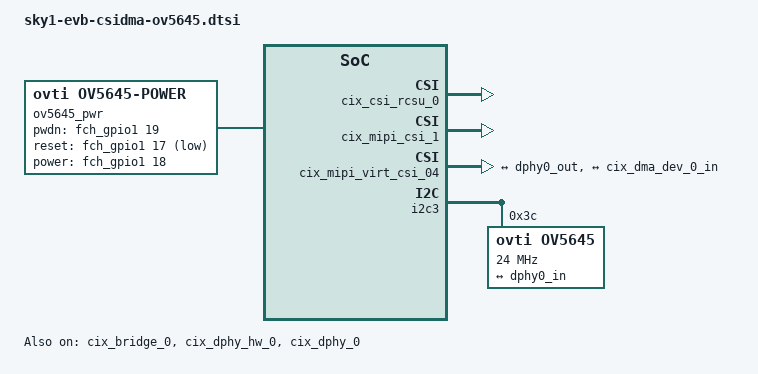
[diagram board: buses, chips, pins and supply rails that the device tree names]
// SPDX-License-Identifier: GPL-2.0
/*
 * Copyright 2024 Cix Technology Group Co., Ltd.
 */

#include "sky1-csidma-common.dtsi"

#define PLATFORM_ID  PLATFORM_A0_SOC

&cix_dma_dev_0 {
	sync = <0>;
	channel_id = <1>;
	dphy_mode = <2>; /*for split mode*/
	cix,rcsu = <&cix_csi_rcsu_0>;
	cix,hw = <&cix_bridge_0>;
	status = "okay";
	iommus = <&smmu_mmhub 0x21>;
	port {
		cix_dma_dev_0_in: endpoint {
			remote-endpoint = <&mipi_csi2_virt04_out>;
		};
	};
};

&cix_csi_rcsu_0 {
	platform-id = <PLATFORM_ID>;
	status = "okay";
};

&cix_bridge_0 {
	status = "okay";
};

&cix_mipi_csi_1 {
	lanes = <2>;
	status = "okay";
};

&cix_mipi_virt_csi_04 {
	cix,hw = <&cix_mipi_csi_1>;
	status = "okay";
	vc = <0>;
	ports {
		#address-cells = <1>;
		#size-cells = <0>;
		port@0 {
			reg = <0>;
			#address-cells = <1>;
			#size-cells = <0>;
			mipi_csi2_virt04_in: endpoint@1 {
				reg = <1>;
				remote-endpoint = <&dphy0_out>;
			};
		};
		port@1 {
			reg = <1>;
			#address-cells = <1>;
			#size-cells = <0>;
			mipi_csi2_virt04_out: endpoint@0 {
				reg = <0>;
				remote-endpoint = <&cix_dma_dev_0_in>;
			};
		};
	};
};

&cix_dphy_hw_0 {
	status = "okay";
};

&cix_dphy_0 {
	status = "okay";
	#address-cells = <1>;
	#size-cells = <0>;
	ports {
		#address-cells = <1>;
		#size-cells = <0>;
		port@0 {
			reg = <0>;
			#address-cells = <1>;
			#size-cells = <0>;
			dphy0_in: endpoint@1 {
				reg = <1>;
				remote-endpoint = <&ov5645_out>;
				data-lanes = <1 2>;
				clock-lanes = <0>;
			};
		};

		port@1 {
			reg = <1>;
			#address-cells = <1>;
			#size-cells = <0>;
			dphy0_out: endpoint@0 {
				reg = <0>;
				remote-endpoint = <&mipi_csi2_virt04_in>;
			};
		};
	};
};

/*
 * Standalone power-management node for the OV5645 sensor module.
 *
 * The companion platform driver (drivers/media/i2c/cix/ov5645/
 * ov5645_power_manage.c, compatible "ovti,ov5645-power") owns the
 * pwdn / reset / power GPIOs and the pinctrl default state, and exposes
 * a small power_on/power_off API to the I2C sensor driver.
 *
 * The OV5645 I2C node references this node through the
 * "ov5645,power-mgr" phandle below.
 */
/ {
	ov5645_pwr: ov5645-power {
		compatible = "ovti,ov5645-power";
		pinctrl-names = "default";
		pinctrl-0 = <&pinctrl_ov5645_hw>;
		pwdn-gpios = <&fch_gpio1 19 GPIO_ACTIVE_HIGH>;
		reset-gpios = <&fch_gpio1 17 GPIO_ACTIVE_LOW>;
		power-gpios = <&fch_gpio1 18 GPIO_ACTIVE_HIGH>;	// GPIO93:fch_gpio1 18
		status = "okay";
	};
};

&i2c3 {
	status = "okay";
	ov5645: ov5645@3c {
		compatible = "ovti,ov5645";
		#address-cells = <1>;
		#size-cells = <0>;
		reg = <0x3c>;
		clock-names = "mclk";
		clocks = <&scmi_clk CLK_TREE_CAMERA_MCLK1>;
		clock-frequency = <24000000>;
		ov5645,power-mgr = <&ov5645_pwr>;
		status = "okay";
		port {
			ov5645_out: endpoint {
				remote-endpoint = <&dphy0_in>;
				data-lanes = <1 2>;
				clock-lanes = <0>;
			};
		};
	};
};
